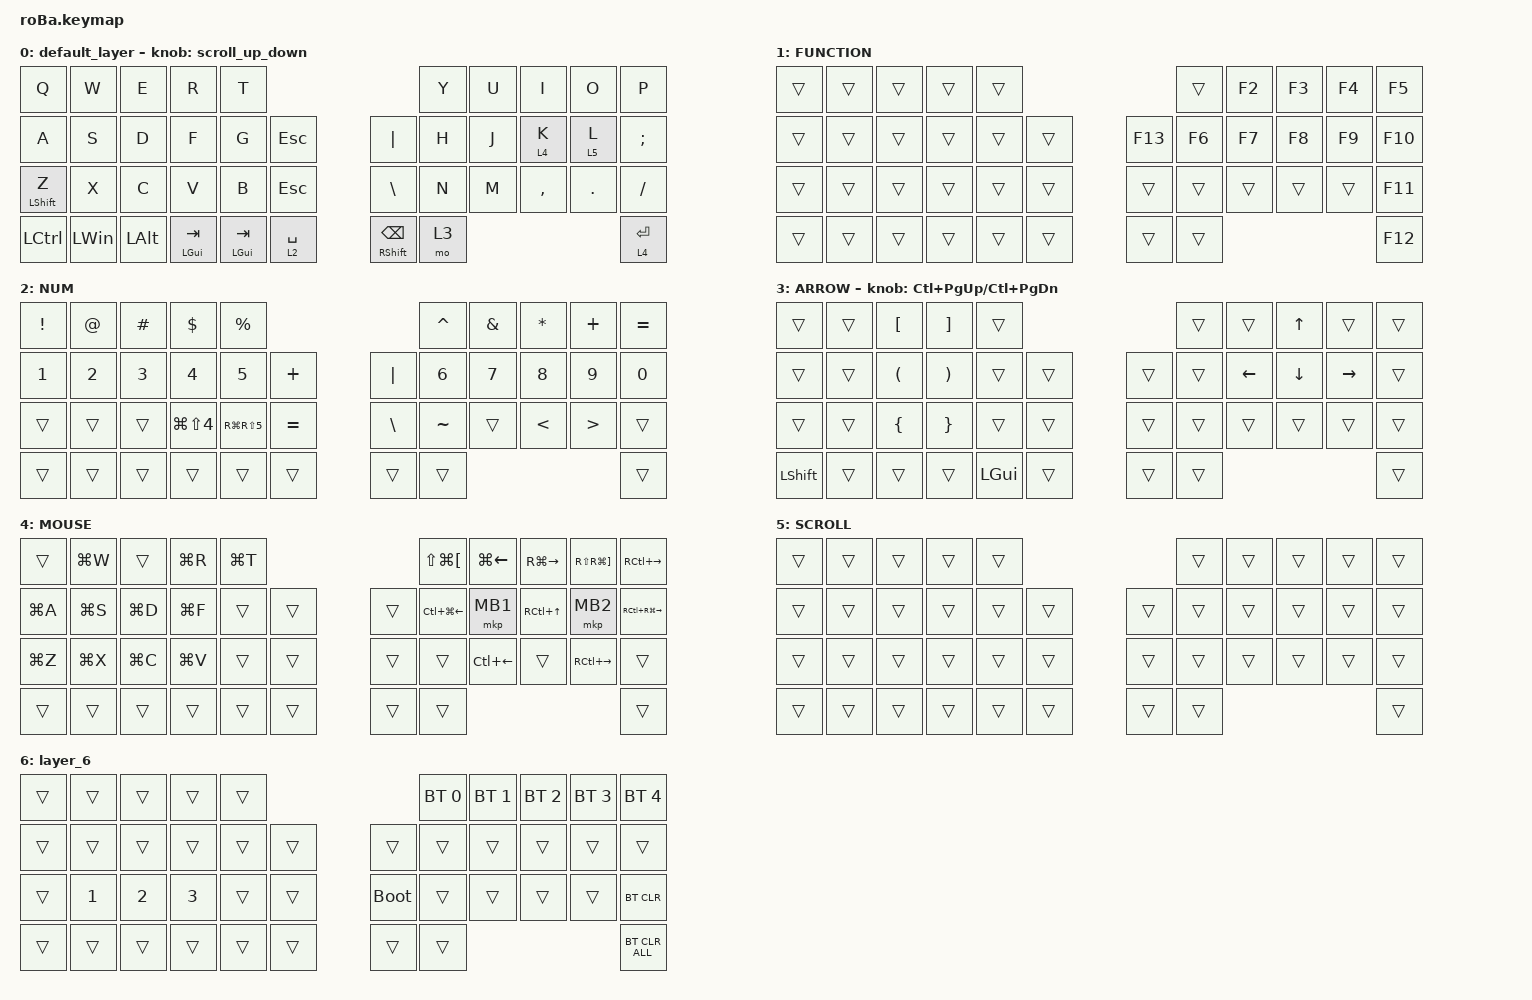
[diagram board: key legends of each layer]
#include <behaviors.dtsi>
#include <dt-bindings/zmk/bt.h>
#include <dt-bindings/zmk/keys.h>
#include <dt-bindings/zmk/pointing.h>

#define MOUSE 4
#define SCROLL 5
#define NUM 6
#define ZMK_POINTING_DEFAULT_SCRL_VAL 100

&mt {
    flavor = "balanced";
    quick-tap-ms = <500>;
};

&sl { release-after-ms = <0>; };

/ {
    combos {
        compatible = "zmk,combos";

        quotation {
            bindings = <&kp SINGLE_QUOTE>;
            key-positions = <20 19>;
        };

        hyphen {
            bindings = <&kp MINUS>;
            key-positions = <8 9>;
        };

        grave_accent {
            bindings = <&kp GRAVE>;
            key-positions = <0 1>;
        };

        under_score {
            bindings = <&kp RS(MINUS)>;
            key-positions = <7 8>;
        };

        double_quote {
            bindings = <&kp DOUBLE_QUOTES>;
            key-positions = <20 21>;
        };

        change_input_lang {
            bindings = <&kp LC(SPACE)>;
            key-positions = <13 12>;
        };

        back_slash {
            bindings = <&kp BACKSLASH>;
            key-positions = <31 32>;
        };

        pipe {
            bindings = <&kp PIPE>;
            key-positions = <32 33>;
        };
    };

    macros {
        to_layer_0: to_layer_0 {
            compatible = "zmk,behavior-macro-one-param";
            #binding-cells = <1>;
            bindings = <&to 0 &macro_param_1to1 &kp MACRO_PLACEHOLDER>;
            label = "TO_LAYER_0";
        };
    };

    behaviors {
        lt_to_layer_0: lt_to_layer_0 {
            compatible = "zmk,behavior-hold-tap";
            label = "LAYER_TAP_TO_0";
            bindings = <&mo>, <&to_layer_0>;

            #binding-cells = <2>;
            tapping-term-ms = <200>;
            flavor = "tap-preferred";
        };

        scroll_up_down: behavior_sensor_rotate_mouse_wheel_up_down {
            compatible = "zmk,behavior-sensor-rotate";
            #sensor-binding-cells = <0>;
            bindings = <&msc SCRL_UP>, <&msc SCRL_DOWN>;

            // 追加: スクロールのタップ時間を設定 (20ms)

            tap-ms = <20>;
        };
    };

    keymap {
        compatible = "zmk,keymap";

        default_layer {
            bindings = <
&kp Q             &kp W         &kp E         &kp R             &kp T                                                                    &kp Y  &kp U  &kp I      &kp O    &kp P
&kp A             &kp S         &kp D         &kp F             &kp G             &kp ESCAPE                  &kp PIPE                   &kp H  &kp J  &lt 4 K    &lt 5 L  &kp SEMICOLON
&mt LEFT_SHIFT Z  &kp X         &kp C         &kp V             &kp B             &kp ESC                     &kp BACKSLASH              &kp N  &kp M  &kp COMMA  &kp DOT  &kp SLASH
&kp LCTRL         &kp LEFT_WIN  &kp LEFT_ALT  &mt LEFT_GUI TAB  &mt LEFT_GUI TAB  &lt_to_layer_0 2 SPACE      &mt RIGHT_SHIFT BACKSPACE  &mo 3                             &lt_to_layer_0 4 ENTER
            >;

            sensor-bindings = <&scroll_up_down>;
        };

        FUNCTION {
            bindings = <
&trans  &trans  &trans  &trans  &trans                       &trans  &kp F2  &kp F3  &kp F4  &kp F5
&trans  &trans  &trans  &trans  &trans  &trans      &kp F13  &kp F6  &kp F7  &kp F8  &kp F9  &kp F10
&trans  &trans  &trans  &trans  &trans  &trans      &trans   &trans  &trans  &trans  &trans  &kp F11
&trans  &trans  &trans  &trans  &trans  &trans      &trans   &trans                          &kp F12
            >;
        };

        NUM {
            bindings = <
&kp EXCLAMATION  &kp AT_SIGN   &kp HASH      &kp DOLLAR            &kp PERCENT                                   &kp CARET     &kp AMPERSAND  &kp ASTERISK   &kp PLUS          &kp EQUAL
&kp NUMBER_1     &kp NUMBER_2  &kp NUMBER_3  &kp NUMBER_4          &kp N5          &kp PLUS       &kp PIPE       &kp NUMBER_6  &kp NUMBER_7   &kp NUMBER_8   &kp NUMBER_9      &kp NUMBER_0
&trans           &trans        &trans        &kp LG(LS(NUMBER_4))  &kp RG(RS(N5))  &kp EQUAL      &kp BACKSLASH  &kp TILDE     &trans         &kp LESS_THAN  &kp GREATER_THAN  &trans
&trans           &trans        &trans        &trans                &trans          &trans         &trans         &trans                                                        &trans
            >;
        };

        ARROW {
            bindings = <
&trans          &trans  &kp LEFT_BRACKET      &kp RIGHT_BRACKET      &trans                            &trans  &trans          &kp UP_ARROW  &trans           &trans
&trans          &trans  &kp LEFT_PARENTHESIS  &kp RIGHT_PARENTHESIS  &trans        &trans      &trans  &trans  &kp LEFT_ARROW  &kp DOWN      &kp RIGHT_ARROW  &trans
&trans          &trans  &kp LEFT_BRACE        &kp RIGHT_BRACE        &trans        &trans      &trans  &trans  &trans          &trans        &trans           &trans
&kp LEFT_SHIFT  &trans  &trans                &trans                 &kp LEFT_GUI  &trans      &trans  &trans                                                 &trans
            >;

            sensor-bindings = <&inc_dec_kp LC(PAGE_UP) LC(PAGE_DOWN)>;
        };

        MOUSE {
            bindings = <
&trans     &kp LG(W)  &trans     &kp LG(R)  &kp LG(T)                      &kp LS(LG(LEFT_BRACKET))  &kp LG(LEFT_ARROW)  &kp RG(RIGHT_ARROW)  &kp RS(RG(RIGHT_BRACKET))  &kp RC(RIGHT_ARROW)
&kp LG(A)  &kp LG(S)  &kp LG(D)  &kp LG(F)  &trans     &trans      &trans  &kp LC(LG(LEFT_ARROW))    &mkp MB1            &kp RC(UP_ARROW)     &mkp MB2                   &kp RC(RG(RIGHT_ARROW))
&kp LG(Z)  &kp LG(X)  &kp LG(C)  &kp LG(V)  &trans     &trans      &trans  &trans                    &kp LC(LEFT_ARROW)  &trans               &kp RC(RIGHT_ARROW)        &trans
&trans     &trans     &trans     &trans     &trans     &trans      &trans  &trans                                                                                        &trans
            >;
        };

        SCROLL {
            bindings = <
&trans  &trans  &trans  &trans  &trans                      &trans  &trans  &trans  &trans  &trans
&trans  &trans  &trans  &trans  &trans  &trans      &trans  &trans  &trans  &trans  &trans  &trans
&trans  &trans  &trans  &trans  &trans  &trans      &trans  &trans  &trans  &trans  &trans  &trans
&trans  &trans  &trans  &trans  &trans  &trans      &trans  &trans                          &trans
            >;
        };

        layer_6 {
            bindings = <
&trans  &trans        &trans        &trans        &trans                           &bt BT_SEL 0  &bt BT_SEL 1  &bt BT_SEL 2  &bt BT_SEL 3  &bt BT_SEL 4
&trans  &trans        &trans        &trans        &trans  &trans      &trans       &trans        &trans        &trans        &trans        &trans
&trans  &kp NUMBER_1  &kp NUMBER_2  &kp NUMBER_3  &trans  &trans      &bootloader  &trans        &trans        &trans        &trans        &bt BT_CLR
&trans  &trans        &trans        &trans        &trans  &trans      &trans       &trans                                                  &bt BT_CLR_ALL
            >;
        };
    };
};
